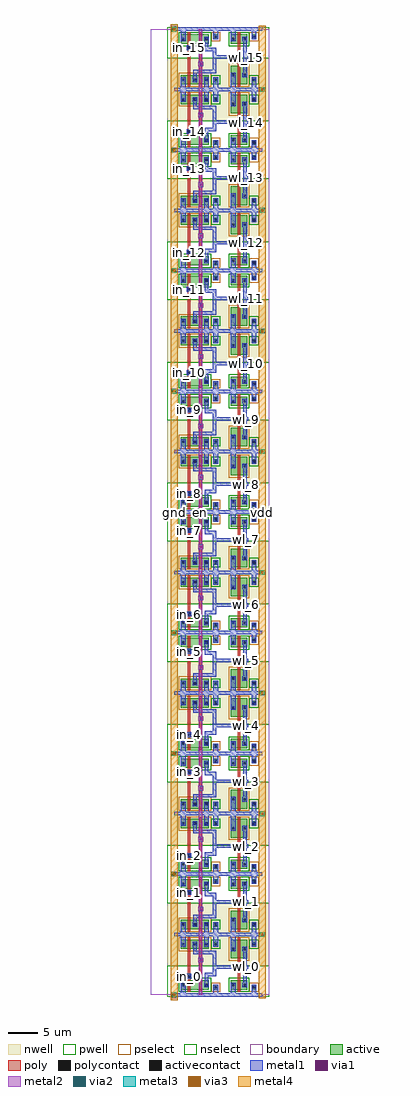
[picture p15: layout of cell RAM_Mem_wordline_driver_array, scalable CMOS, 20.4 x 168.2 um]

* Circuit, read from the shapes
.subckt RAM_Mem_wordline_driver_array en gnd in_0 in_1 in_10 in_11 in_12 in_13 in_14 in_15 in_2 in_3 in_4 in_5 in_6 in_7 in_8 in_9 vdd wl_0 wl_1 wl_10 wl_11 wl_12 wl_13 wl_14 wl_15 wl_2 wl_3 wl_4 wl_5 wl_6 wl_7 wl_8 wl_9
M1 RAM_Mem_wordline_driver_0/RAM_Mem_pnand2_0/RAM_Mem_nmos_m1_w1_600_sm1_dactive_2/D in_0 gnd gnd nfet w=1.6u l=0.4u
M2 RAM_Mem_wordline_driver_1/RAM_Mem_pnand2_0/RAM_Mem_nmos_m1_w1_600_sm1_dactive_2/D in_1 gnd gnd nfet w=1.6u l=0.4u
M3 RAM_Mem_wordline_driver_2/RAM_Mem_pnand2_0/RAM_Mem_nmos_m1_w1_600_sm1_dactive_2/D in_2 gnd gnd nfet w=1.6u l=0.4u
M4 RAM_Mem_wordline_driver_3/RAM_Mem_pnand2_0/RAM_Mem_nmos_m1_w1_600_sm1_dactive_2/D in_3 gnd gnd nfet w=1.6u l=0.4u
M5 RAM_Mem_wordline_driver_4/RAM_Mem_pnand2_0/RAM_Mem_nmos_m1_w1_600_sm1_dactive_2/D in_4 gnd gnd nfet w=1.6u l=0.4u
M6 RAM_Mem_wordline_driver_5/RAM_Mem_pnand2_0/RAM_Mem_nmos_m1_w1_600_sm1_dactive_2/D in_5 gnd gnd nfet w=1.6u l=0.4u
M7 RAM_Mem_wordline_driver_6/RAM_Mem_pnand2_0/RAM_Mem_nmos_m1_w1_600_sm1_dactive_2/D in_6 gnd gnd nfet w=1.6u l=0.4u
M8 RAM_Mem_wordline_driver_7/RAM_Mem_pnand2_0/RAM_Mem_nmos_m1_w1_600_sm1_dactive_2/D in_7 gnd gnd nfet w=1.6u l=0.4u
M9 RAM_Mem_wordline_driver_8/RAM_Mem_pnand2_0/RAM_Mem_nmos_m1_w1_600_sm1_dactive_2/D in_8 gnd gnd nfet w=1.6u l=0.4u
M10 RAM_Mem_wordline_driver_9/RAM_Mem_pnand2_0/RAM_Mem_nmos_m1_w1_600_sm1_dactive_2/D in_9 gnd gnd nfet w=1.6u l=0.4u
M11 RAM_Mem_wordline_driver_10/RAM_Mem_pnand2_0/RAM_Mem_nmos_m1_w1_600_sm1_dactive_2/D in_10 gnd gnd nfet w=1.6u l=0.4u
M12 RAM_Mem_wordline_driver_11/RAM_Mem_pnand2_0/RAM_Mem_nmos_m1_w1_600_sm1_dactive_2/D in_11 gnd gnd nfet w=1.6u l=0.4u
M13 RAM_Mem_wordline_driver_12/RAM_Mem_pnand2_0/RAM_Mem_nmos_m1_w1_600_sm1_dactive_2/D in_12 gnd gnd nfet w=1.6u l=0.4u
M14 RAM_Mem_wordline_driver_13/RAM_Mem_pnand2_0/RAM_Mem_nmos_m1_w1_600_sm1_dactive_2/D in_13 gnd gnd nfet w=1.6u l=0.4u
M15 RAM_Mem_wordline_driver_14/RAM_Mem_pnand2_0/RAM_Mem_nmos_m1_w1_600_sm1_dactive_2/D in_14 gnd gnd nfet w=1.6u l=0.4u
M16 RAM_Mem_wordline_driver_15/RAM_Mem_pnand2_0/RAM_Mem_nmos_m1_w1_600_sm1_dactive_2/D in_15 gnd gnd nfet w=1.6u l=0.4u
M17 RAM_Mem_wordline_driver_0/RAM_Mem_pinv_0_1/A en RAM_Mem_wordline_driver_0/RAM_Mem_pnand2_0/RAM_Mem_nmos_m1_w1_600_sm1_dactive_2/D gnd nfet w=1.6u l=0.4u
M18 RAM_Mem_wordline_driver_1/RAM_Mem_pinv_0_1/A en RAM_Mem_wordline_driver_1/RAM_Mem_pnand2_0/RAM_Mem_nmos_m1_w1_600_sm1_dactive_2/D gnd nfet w=1.6u l=0.4u
M19 RAM_Mem_wordline_driver_2/RAM_Mem_pinv_0_1/A en RAM_Mem_wordline_driver_2/RAM_Mem_pnand2_0/RAM_Mem_nmos_m1_w1_600_sm1_dactive_2/D gnd nfet w=1.6u l=0.4u
M20 RAM_Mem_wordline_driver_3/RAM_Mem_pinv_0_1/A en RAM_Mem_wordline_driver_3/RAM_Mem_pnand2_0/RAM_Mem_nmos_m1_w1_600_sm1_dactive_2/D gnd nfet w=1.6u l=0.4u
M21 RAM_Mem_wordline_driver_4/RAM_Mem_pinv_0_1/A en RAM_Mem_wordline_driver_4/RAM_Mem_pnand2_0/RAM_Mem_nmos_m1_w1_600_sm1_dactive_2/D gnd nfet w=1.6u l=0.4u
M22 RAM_Mem_wordline_driver_5/RAM_Mem_pinv_0_1/A en RAM_Mem_wordline_driver_5/RAM_Mem_pnand2_0/RAM_Mem_nmos_m1_w1_600_sm1_dactive_2/D gnd nfet w=1.6u l=0.4u
M23 RAM_Mem_wordline_driver_6/RAM_Mem_pinv_0_1/A en RAM_Mem_wordline_driver_6/RAM_Mem_pnand2_0/RAM_Mem_nmos_m1_w1_600_sm1_dactive_2/D gnd nfet w=1.6u l=0.4u
M24 RAM_Mem_wordline_driver_7/RAM_Mem_pinv_0_1/A en RAM_Mem_wordline_driver_7/RAM_Mem_pnand2_0/RAM_Mem_nmos_m1_w1_600_sm1_dactive_2/D gnd nfet w=1.6u l=0.4u
M25 RAM_Mem_wordline_driver_8/RAM_Mem_pinv_0_1/A en RAM_Mem_wordline_driver_8/RAM_Mem_pnand2_0/RAM_Mem_nmos_m1_w1_600_sm1_dactive_2/D gnd nfet w=1.6u l=0.4u
M26 RAM_Mem_wordline_driver_9/RAM_Mem_pinv_0_1/A en RAM_Mem_wordline_driver_9/RAM_Mem_pnand2_0/RAM_Mem_nmos_m1_w1_600_sm1_dactive_2/D gnd nfet w=1.6u l=0.4u
M27 RAM_Mem_wordline_driver_10/RAM_Mem_pinv_0_1/A en RAM_Mem_wordline_driver_10/RAM_Mem_pnand2_0/RAM_Mem_nmos_m1_w1_600_sm1_dactive_2/D gnd nfet w=1.6u l=0.4u
M28 RAM_Mem_wordline_driver_11/RAM_Mem_pinv_0_1/A en RAM_Mem_wordline_driver_11/RAM_Mem_pnand2_0/RAM_Mem_nmos_m1_w1_600_sm1_dactive_2/D gnd nfet w=1.6u l=0.4u
M29 RAM_Mem_wordline_driver_12/RAM_Mem_pinv_0_1/A en RAM_Mem_wordline_driver_12/RAM_Mem_pnand2_0/RAM_Mem_nmos_m1_w1_600_sm1_dactive_2/D gnd nfet w=1.6u l=0.4u
M30 RAM_Mem_wordline_driver_13/RAM_Mem_pinv_0_1/A en RAM_Mem_wordline_driver_13/RAM_Mem_pnand2_0/RAM_Mem_nmos_m1_w1_600_sm1_dactive_2/D gnd nfet w=1.6u l=0.4u
M31 RAM_Mem_wordline_driver_14/RAM_Mem_pinv_0_1/A en RAM_Mem_wordline_driver_14/RAM_Mem_pnand2_0/RAM_Mem_nmos_m1_w1_600_sm1_dactive_2/D gnd nfet w=1.6u l=0.4u
M32 RAM_Mem_wordline_driver_15/RAM_Mem_pinv_0_1/A en RAM_Mem_wordline_driver_15/RAM_Mem_pnand2_0/RAM_Mem_nmos_m1_w1_600_sm1_dactive_2/D gnd nfet w=1.6u l=0.4u
M33 wl_0 RAM_Mem_wordline_driver_0/RAM_Mem_pinv_0_1/A gnd gnd nfet w=1.6u l=0.4u
M34 wl_1 RAM_Mem_wordline_driver_1/RAM_Mem_pinv_0_1/A gnd gnd nfet w=1.6u l=0.4u
M35 wl_2 RAM_Mem_wordline_driver_2/RAM_Mem_pinv_0_1/A gnd gnd nfet w=1.6u l=0.4u
M36 wl_3 RAM_Mem_wordline_driver_3/RAM_Mem_pinv_0_1/A gnd gnd nfet w=1.6u l=0.4u
M37 wl_4 RAM_Mem_wordline_driver_4/RAM_Mem_pinv_0_1/A gnd gnd nfet w=1.6u l=0.4u
M38 wl_5 RAM_Mem_wordline_driver_5/RAM_Mem_pinv_0_1/A gnd gnd nfet w=1.6u l=0.4u
M39 wl_6 RAM_Mem_wordline_driver_6/RAM_Mem_pinv_0_1/A gnd gnd nfet w=1.6u l=0.4u
M40 wl_7 RAM_Mem_wordline_driver_7/RAM_Mem_pinv_0_1/A gnd gnd nfet w=1.6u l=0.4u
M41 wl_8 RAM_Mem_wordline_driver_8/RAM_Mem_pinv_0_1/A gnd gnd nfet w=1.6u l=0.4u
M42 wl_9 RAM_Mem_wordline_driver_9/RAM_Mem_pinv_0_1/A gnd gnd nfet w=1.6u l=0.4u
M43 wl_10 RAM_Mem_wordline_driver_10/RAM_Mem_pinv_0_1/A gnd gnd nfet w=1.6u l=0.4u
M44 wl_11 RAM_Mem_wordline_driver_11/RAM_Mem_pinv_0_1/A gnd gnd nfet w=1.6u l=0.4u
M45 wl_12 RAM_Mem_wordline_driver_12/RAM_Mem_pinv_0_1/A gnd gnd nfet w=1.6u l=0.4u
M46 wl_13 RAM_Mem_wordline_driver_13/RAM_Mem_pinv_0_1/A gnd gnd nfet w=1.6u l=0.4u
M47 wl_14 RAM_Mem_wordline_driver_14/RAM_Mem_pinv_0_1/A gnd gnd nfet w=1.6u l=0.4u
M48 wl_15 RAM_Mem_wordline_driver_15/RAM_Mem_pinv_0_1/A gnd gnd nfet w=1.6u l=0.4u
M49 RAM_Mem_wordline_driver_0/RAM_Mem_pinv_0_1/A in_0 vdd vdd pfet w=1.6u l=0.4u
M50 RAM_Mem_wordline_driver_1/RAM_Mem_pinv_0_1/A in_1 vdd vdd pfet w=1.6u l=0.4u
M51 RAM_Mem_wordline_driver_2/RAM_Mem_pinv_0_1/A in_2 vdd vdd pfet w=1.6u l=0.4u
M52 RAM_Mem_wordline_driver_3/RAM_Mem_pinv_0_1/A in_3 vdd vdd pfet w=1.6u l=0.4u
M53 RAM_Mem_wordline_driver_4/RAM_Mem_pinv_0_1/A in_4 vdd vdd pfet w=1.6u l=0.4u
M54 RAM_Mem_wordline_driver_5/RAM_Mem_pinv_0_1/A in_5 vdd vdd pfet w=1.6u l=0.4u
M55 RAM_Mem_wordline_driver_6/RAM_Mem_pinv_0_1/A in_6 vdd vdd pfet w=1.6u l=0.4u
M56 RAM_Mem_wordline_driver_7/RAM_Mem_pinv_0_1/A in_7 vdd vdd pfet w=1.6u l=0.4u
M57 RAM_Mem_wordline_driver_8/RAM_Mem_pinv_0_1/A in_8 vdd vdd pfet w=1.6u l=0.4u
M58 RAM_Mem_wordline_driver_9/RAM_Mem_pinv_0_1/A in_9 vdd vdd pfet w=1.6u l=0.4u
M59 RAM_Mem_wordline_driver_10/RAM_Mem_pinv_0_1/A in_10 vdd vdd pfet w=1.6u l=0.4u
M60 RAM_Mem_wordline_driver_11/RAM_Mem_pinv_0_1/A in_11 vdd vdd pfet w=1.6u l=0.4u
M61 RAM_Mem_wordline_driver_12/RAM_Mem_pinv_0_1/A in_12 vdd vdd pfet w=1.6u l=0.4u
M62 RAM_Mem_wordline_driver_13/RAM_Mem_pinv_0_1/A in_13 vdd vdd pfet w=1.6u l=0.4u
M63 RAM_Mem_wordline_driver_14/RAM_Mem_pinv_0_1/A in_14 vdd vdd pfet w=1.6u l=0.4u
M64 RAM_Mem_wordline_driver_15/RAM_Mem_pinv_0_1/A in_15 vdd vdd pfet w=1.6u l=0.4u
M65 vdd en RAM_Mem_wordline_driver_0/RAM_Mem_pinv_0_1/A vdd pfet w=1.6u l=0.4u
M66 vdd en RAM_Mem_wordline_driver_1/RAM_Mem_pinv_0_1/A vdd pfet w=1.6u l=0.4u
M67 vdd en RAM_Mem_wordline_driver_2/RAM_Mem_pinv_0_1/A vdd pfet w=1.6u l=0.4u
M68 vdd en RAM_Mem_wordline_driver_3/RAM_Mem_pinv_0_1/A vdd pfet w=1.6u l=0.4u
M69 vdd en RAM_Mem_wordline_driver_4/RAM_Mem_pinv_0_1/A vdd pfet w=1.6u l=0.4u
M70 vdd en RAM_Mem_wordline_driver_5/RAM_Mem_pinv_0_1/A vdd pfet w=1.6u l=0.4u
M71 vdd en RAM_Mem_wordline_driver_6/RAM_Mem_pinv_0_1/A vdd pfet w=1.6u l=0.4u
M72 vdd en RAM_Mem_wordline_driver_7/RAM_Mem_pinv_0_1/A vdd pfet w=1.6u l=0.4u
M73 vdd en RAM_Mem_wordline_driver_8/RAM_Mem_pinv_0_1/A vdd pfet w=1.6u l=0.4u
M74 vdd en RAM_Mem_wordline_driver_9/RAM_Mem_pinv_0_1/A vdd pfet w=1.6u l=0.4u
M75 vdd en RAM_Mem_wordline_driver_10/RAM_Mem_pinv_0_1/A vdd pfet w=1.6u l=0.4u
M76 vdd en RAM_Mem_wordline_driver_11/RAM_Mem_pinv_0_1/A vdd pfet w=1.6u l=0.4u
M77 vdd en RAM_Mem_wordline_driver_12/RAM_Mem_pinv_0_1/A vdd pfet w=1.6u l=0.4u
M78 vdd en RAM_Mem_wordline_driver_13/RAM_Mem_pinv_0_1/A vdd pfet w=1.6u l=0.4u
M79 vdd en RAM_Mem_wordline_driver_14/RAM_Mem_pinv_0_1/A vdd pfet w=1.6u l=0.4u
M80 vdd en RAM_Mem_wordline_driver_15/RAM_Mem_pinv_0_1/A vdd pfet w=1.6u l=0.4u
M81 wl_0 RAM_Mem_wordline_driver_0/RAM_Mem_pinv_0_1/A vdd vdd pfet w=3.2u l=0.4u
M82 wl_1 RAM_Mem_wordline_driver_1/RAM_Mem_pinv_0_1/A vdd vdd pfet w=3.2u l=0.4u
M83 wl_2 RAM_Mem_wordline_driver_2/RAM_Mem_pinv_0_1/A vdd vdd pfet w=3.2u l=0.4u
M84 wl_3 RAM_Mem_wordline_driver_3/RAM_Mem_pinv_0_1/A vdd vdd pfet w=3.2u l=0.4u
M85 wl_4 RAM_Mem_wordline_driver_4/RAM_Mem_pinv_0_1/A vdd vdd pfet w=3.2u l=0.4u
M86 wl_5 RAM_Mem_wordline_driver_5/RAM_Mem_pinv_0_1/A vdd vdd pfet w=3.2u l=0.4u
M87 wl_6 RAM_Mem_wordline_driver_6/RAM_Mem_pinv_0_1/A vdd vdd pfet w=3.2u l=0.4u
M88 wl_7 RAM_Mem_wordline_driver_7/RAM_Mem_pinv_0_1/A vdd vdd pfet w=3.2u l=0.4u
M89 wl_8 RAM_Mem_wordline_driver_8/RAM_Mem_pinv_0_1/A vdd vdd pfet w=3.2u l=0.4u
M90 wl_9 RAM_Mem_wordline_driver_9/RAM_Mem_pinv_0_1/A vdd vdd pfet w=3.2u l=0.4u
M91 wl_10 RAM_Mem_wordline_driver_10/RAM_Mem_pinv_0_1/A vdd vdd pfet w=3.2u l=0.4u
M92 wl_11 RAM_Mem_wordline_driver_11/RAM_Mem_pinv_0_1/A vdd vdd pfet w=3.2u l=0.4u
M93 wl_12 RAM_Mem_wordline_driver_12/RAM_Mem_pinv_0_1/A vdd vdd pfet w=3.2u l=0.4u
M94 wl_13 RAM_Mem_wordline_driver_13/RAM_Mem_pinv_0_1/A vdd vdd pfet w=3.2u l=0.4u
M95 wl_14 RAM_Mem_wordline_driver_14/RAM_Mem_pinv_0_1/A vdd vdd pfet w=3.2u l=0.4u
M96 wl_15 RAM_Mem_wordline_driver_15/RAM_Mem_pinv_0_1/A vdd vdd pfet w=3.2u l=0.4u
.ends

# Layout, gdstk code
import gdstk
lib = gdstk.Library(unit=1e-6, precision=1e-09)
def R(c, l, rs):  # rectangles x0, y0, x1, y1
    for r in rs: c.add(gdstk.rectangle(r[:2], r[2:], *l))
via3 = (30, 0)
metal4 = (31, 0)
pwell = (41, 0)
nwell = (42, 0)
active = (43, 0)
pselect = (44, 0)
nselect = (45, 0)
poly = (46, 0)
polycontact = (47, 0)
activecontact = (48, 0)
metal1 = (49, 0)
via1 = (50, 0)
metal2 = (51, 0)
via2 = (61, 0)
metal3 = (62, 0)
boundary = (63, 0)

ram_mem_contact_12 = lib.new_cell('RAM_Mem_contact_12')
R(ram_mem_contact_12, nwell, [(-1.2,-1.2,2,2)])
R(ram_mem_contact_12, active, [(0,0,0.8,0.8)])
R(ram_mem_contact_12, pselect, [(-0.4,-0.4,1.2,1.2)])
R(ram_mem_contact_12, activecontact, [(0.2,0.2,0.6,0.6)])
R(ram_mem_contact_12, metal1, [(0,0,0.8,0.8)])
R(ram_mem_contact_12, boundary, [(-1.2,-1.2,2,2)])

ram_mem_pmos_m1_w1_600_s = lib.new_cell('RAM_Mem_pmos_m1_w1_600_sm1_dm1')
R(ram_mem_pmos_m1_w1_600_s, nwell, [(-1.2,-1.2,4,2.8)])
R(ram_mem_pmos_m1_w1_600_s, active, [(0,0,2.8,1.6)])
R(ram_mem_pmos_m1_w1_600_s, pselect, [(-0.4,-0.4,3.2,2)])
R(ram_mem_pmos_m1_w1_600_s, poly, [(1.2,-0.4,1.6,2), (1.2,-0.4,1.6,2)])
R(ram_mem_pmos_m1_w1_600_s, metal1, [(0,0.4,0.8,1.2), (2,0.4,2.8,1.2)])
R(ram_mem_pmos_m1_w1_600_s, boundary, [(-1.2,-1.2,4,2.8)])
ram_mem_pmos_m1_w1_600_s.add(gdstk.Reference(ram_mem_contact_12, (0,0.4)))
ram_mem_pmos_m1_w1_600_s.add(gdstk.Reference(ram_mem_contact_12, (2,0.4)))
ram_mem_pmos_m1_w1_600_s.add(gdstk.Label('G', (1.4,0.8), layer=46, texttype=0))
ram_mem_pmos_m1_w1_600_s.add(gdstk.Label('S', (0.4,0.8), layer=49, texttype=0))
ram_mem_pmos_m1_w1_600_s.add(gdstk.Label('D', (2.4,0.8), layer=49, texttype=0))

ram_mem_contact_11 = lib.new_cell('RAM_Mem_contact_11')
R(ram_mem_contact_11, pwell, [(-1.2,-1.2,2,2)])
R(ram_mem_contact_11, active, [(0,0,0.8,0.8)])
R(ram_mem_contact_11, nselect, [(-0.4,-0.4,1.2,1.2)])
R(ram_mem_contact_11, activecontact, [(0.2,0.2,0.6,0.6)])
R(ram_mem_contact_11, metal1, [(0,0,0.8,0.8)])
R(ram_mem_contact_11, boundary, [(-1.2,-1.2,2,2)])

ram_mem_nmos_m1_w1_600_s = lib.new_cell('RAM_Mem_nmos_m1_w1_600_sm1_dactive')
R(ram_mem_nmos_m1_w1_600_s, pwell, [(-1.2,-1.2,4,2.8)])
R(ram_mem_nmos_m1_w1_600_s, active, [(0,0,2.8,1.6), (2.1,0.5,2.7,1.1)])
R(ram_mem_nmos_m1_w1_600_s, nselect, [(-0.4,-0.4,3.2,2)])
R(ram_mem_nmos_m1_w1_600_s, poly, [(1.2,-0.4,1.6,2), (1.2,-0.4,1.6,2)])
R(ram_mem_nmos_m1_w1_600_s, metal1, [(0,0.4,0.8,1.2)])
R(ram_mem_nmos_m1_w1_600_s, boundary, [(-1.2,-1.2,4,2.8)])
ram_mem_nmos_m1_w1_600_s.add(gdstk.Reference(ram_mem_contact_11, (0,0.4)))
ram_mem_nmos_m1_w1_600_s.add(gdstk.Label('G', (1.4,0.8), layer=46, texttype=0))
ram_mem_nmos_m1_w1_600_s.add(gdstk.Label('S', (0.4,0.8), layer=49, texttype=0))
ram_mem_nmos_m1_w1_600_s.add(gdstk.Label('D', (2.4,0.8), layer=43, texttype=0))

c_ram_mem_nmos_m1_w1_600_s = lib.new_cell('RAM_Mem_nmos_m1_w1_600_sactive_dm1')
R(c_ram_mem_nmos_m1_w1_600_s, pwell, [(-1.2,-1.2,4,2.8)])
R(c_ram_mem_nmos_m1_w1_600_s, active, [(0,0,2.8,1.6), (0.1,0.5,0.7,1.1)])
R(c_ram_mem_nmos_m1_w1_600_s, nselect, [(-0.4,-0.4,3.2,2)])
R(c_ram_mem_nmos_m1_w1_600_s, poly, [(1.2,-0.4,1.6,2), (1.2,-0.4,1.6,2)])
R(c_ram_mem_nmos_m1_w1_600_s, metal1, [(2,0.4,2.8,1.2)])
R(c_ram_mem_nmos_m1_w1_600_s, boundary, [(-1.2,-1.2,4,2.8)])
c_ram_mem_nmos_m1_w1_600_s.add(gdstk.Reference(ram_mem_contact_11, (2,0.4)))
c_ram_mem_nmos_m1_w1_600_s.add(gdstk.Label('G', (1.4,0.8), layer=46, texttype=0))
c_ram_mem_nmos_m1_w1_600_s.add(gdstk.Label('S', (0.4,0.8), layer=43, texttype=0))
c_ram_mem_nmos_m1_w1_600_s.add(gdstk.Label('D', (2.4,0.8), layer=49, texttype=0))

ram_mem_contact_13 = lib.new_cell('RAM_Mem_contact_13')
R(ram_mem_contact_13, nwell, [(-1.2,-1.2,2,2)])
R(ram_mem_contact_13, active, [(0,0,0.8,0.8)])
R(ram_mem_contact_13, nselect, [(-0.4,-0.4,1.2,1.2)])
R(ram_mem_contact_13, activecontact, [(0.2,0.2,0.6,0.6)])
R(ram_mem_contact_13, metal1, [(0,0,0.8,0.8)])
R(ram_mem_contact_13, boundary, [(-1.2,-1.2,2,2)])

ram_mem_contact_14 = lib.new_cell('RAM_Mem_contact_14')
R(ram_mem_contact_14, pwell, [(-1.2,-1.2,2,2)])
R(ram_mem_contact_14, active, [(0,0,0.8,0.8)])
R(ram_mem_contact_14, pselect, [(-0.4,-0.4,1.2,1.2)])
R(ram_mem_contact_14, activecontact, [(0.2,0.2,0.6,0.6)])
R(ram_mem_contact_14, metal1, [(0,0,0.8,0.8)])
R(ram_mem_contact_14, boundary, [(-1.2,-1.2,2,2)])

ram_mem_contact_15 = lib.new_cell('RAM_Mem_contact_15')
R(ram_mem_contact_15, poly, [(0,0,0.8,0.8)])
R(ram_mem_contact_15, polycontact, [(0.2,0.2,0.6,0.6)])
R(ram_mem_contact_15, metal1, [(0,0,0.8,0.8)])
R(ram_mem_contact_15, boundary, [(0,0,0.8,0.8)])

ram_mem_pnand2 = lib.new_cell('RAM_Mem_pnand2')
R(ram_mem_pnand2, pwell, [(-1.2,-0.3,9.8,5)])
R(ram_mem_pnand2, nwell, [(-1.2,5,9.8,11.9)])
R(ram_mem_pnand2, poly, [(2.4,2.8,2.6,3.6), (2.4,2.9,2.8,7.5), (4.4,2.9,4.8,7.5), (4.4,5.6,4.6,6.4)])
R(ram_mem_pnand2, metal1, [(0,-0.3,8.6,0.3), (1.2,-0.3,2,1.3), (6.8,0,7.6,1.3), (5.3,2.1,5.9,3.5), (2.2,2.8,3,3.6), (5.3,3.2,5.9,3.8), (5.6,3.2,7,3.8), (6.7,3.2,7.3,3.8), (6.7,3.5,7.3,7.3), (4.2,5.6,5,6.4), (3.3,7,3.9,7.6), (3.6,7,7,7.6), (6.7,7,7.3,7.6), (3.3,7.3,3.9,8.3), (1.2,8.3,2,10.7), (5.2,8.3,6,10.7), (6.8,8.7,7.6,10.4), (0,10.1,8.6,10.7)])
R(ram_mem_pnand2, boundary, [(0,0,8.6,10.4), (0,0,8.6,10.4)])
ram_mem_pnand2.add(gdstk.Reference(ram_mem_pmos_m1_w1_600_s, (1.2,7.9)))
ram_mem_pnand2.add(gdstk.Reference(ram_mem_pmos_m1_w1_600_s, (3.2,7.9)))
ram_mem_pnand2.add(gdstk.Reference(ram_mem_nmos_m1_w1_600_s, (1.2,0.9)))
ram_mem_pnand2.add(gdstk.Reference(c_ram_mem_nmos_m1_w1_600_s, (3.2,0.9)))
ram_mem_pnand2.add(gdstk.Reference(ram_mem_contact_13, (6.8,8.3)))
ram_mem_pnand2.add(gdstk.Reference(ram_mem_contact_14, (6.8,0.9)))
ram_mem_pnand2.add(gdstk.Reference(ram_mem_contact_15, (2.2,2.8)))
ram_mem_pnand2.add(gdstk.Reference(ram_mem_contact_15, (4.2,5.6)))
ram_mem_pnand2.add(gdstk.Label('Z', (7,7.3), layer=49, texttype=0))
ram_mem_pnand2.add(gdstk.Label('gnd', (4.3,0), layer=49, texttype=0))
ram_mem_pnand2.add(gdstk.Label('vdd', (4.3,10.4), layer=49, texttype=0))
ram_mem_pnand2.add(gdstk.Label('A', (2.6,3.2), layer=49, texttype=0))
ram_mem_pnand2.add(gdstk.Label('B', (4.6,6), layer=49, texttype=0))

ram_mem_pmos_m1_w3_200_s = lib.new_cell('RAM_Mem_pmos_m1_w3_200_sm1_dm1_da_p')
R(ram_mem_pmos_m1_w3_200_s, nwell, [(-1.2,-1.2,4,4.4)])
R(ram_mem_pmos_m1_w3_200_s, active, [(0,0,2.8,3.2)])
R(ram_mem_pmos_m1_w3_200_s, pselect, [(-0.4,-0.4,3.2,3.6)])
R(ram_mem_pmos_m1_w3_200_s, poly, [(1.2,-0.4,1.6,3.6), (1.2,-0.4,1.6,3.6)])
R(ram_mem_pmos_m1_w3_200_s, metal1, [(0,1.2,0.8,2), (2,1.2,2.8,2)])
R(ram_mem_pmos_m1_w3_200_s, boundary, [(-1.2,-1.2,4,4.4)])
ram_mem_pmos_m1_w3_200_s.add(gdstk.Reference(ram_mem_contact_12, (0,1.2)))
ram_mem_pmos_m1_w3_200_s.add(gdstk.Reference(ram_mem_contact_12, (2,1.2)))
ram_mem_pmos_m1_w3_200_s.add(gdstk.Label('G', (1.4,1.6), layer=46, texttype=0))
ram_mem_pmos_m1_w3_200_s.add(gdstk.Label('S', (0.4,1.6), layer=49, texttype=0))
ram_mem_pmos_m1_w3_200_s.add(gdstk.Label('D', (2.4,1.6), layer=49, texttype=0))

c_ram_mem_nmos_m1_w1_600_s_ = lib.new_cell('RAM_Mem_nmos_m1_w1_600_sm1_dm1_da_p')
R(c_ram_mem_nmos_m1_w1_600_s_, pwell, [(-1.2,-1.2,4,2.8)])
R(c_ram_mem_nmos_m1_w1_600_s_, active, [(0,0,2.8,1.6)])
R(c_ram_mem_nmos_m1_w1_600_s_, nselect, [(-0.4,-0.4,3.2,2)])
R(c_ram_mem_nmos_m1_w1_600_s_, poly, [(1.2,-0.4,1.6,2), (1.2,-0.4,1.6,2)])
R(c_ram_mem_nmos_m1_w1_600_s_, metal1, [(0,0.4,0.8,1.2), (2,0.4,2.8,1.2)])
R(c_ram_mem_nmos_m1_w1_600_s_, boundary, [(-1.2,-1.2,4,2.8)])
c_ram_mem_nmos_m1_w1_600_s_.add(gdstk.Reference(ram_mem_contact_11, (0,0.4)))
c_ram_mem_nmos_m1_w1_600_s_.add(gdstk.Reference(ram_mem_contact_11, (2,0.4)))
c_ram_mem_nmos_m1_w1_600_s_.add(gdstk.Label('G', (1.4,0.8), layer=46, texttype=0))
c_ram_mem_nmos_m1_w1_600_s_.add(gdstk.Label('S', (0.4,0.8), layer=49, texttype=0))
c_ram_mem_nmos_m1_w1_600_s_.add(gdstk.Label('D', (2.4,0.8), layer=49, texttype=0))

ram_mem_pinv_0 = lib.new_cell('RAM_Mem_pinv_0')
R(ram_mem_pinv_0, pwell, [(-1.2,-0.3,7.8,5)])
R(ram_mem_pinv_0, nwell, [(-1.2,5,7.8,11.9)])
R(ram_mem_pinv_0, poly, [(2.4,2.9,2.8,5.9), (2,4.4,2.4,5.2)])
R(ram_mem_pinv_0, metal1, [(0,-0.3,6.6,0.3), (1.2,-0.3,2,1.3), (4.8,0,5.6,1.3), (3.3,1.3,3.9,8.3), (1.6,4.4,2.4,5.2), (3.6,4.5,4.2,5.1), (1.2,7.5,2,10.7), (4.8,8.7,5.6,10.4), (0,10.1,6.6,10.7)])
R(ram_mem_pinv_0, boundary, [(0,0,6.6,10.4), (0,0,6.6,10.4)])
ram_mem_pinv_0.add(gdstk.Reference(ram_mem_pmos_m1_w3_200_s, (1.2,6.3)))
ram_mem_pinv_0.add(gdstk.Reference(c_ram_mem_nmos_m1_w1_600_s_, (1.2,0.9)))
ram_mem_pinv_0.add(gdstk.Reference(ram_mem_contact_13, (4.8,8.3)))
ram_mem_pinv_0.add(gdstk.Reference(ram_mem_contact_14, (4.8,0.9)))
ram_mem_pinv_0.add(gdstk.Reference(ram_mem_contact_15, (1.6,4.4)))
ram_mem_pinv_0.add(gdstk.Label('A', (2,4.8), layer=49, texttype=0))
ram_mem_pinv_0.add(gdstk.Label('Z', (3.9,4.8), layer=49, texttype=0))
ram_mem_pinv_0.add(gdstk.Label('gnd', (3.3,0), layer=49, texttype=0))
ram_mem_pinv_0.add(gdstk.Label('vdd', (3.3,10.4), layer=49, texttype=0))

ram_mem_wordline_driver = lib.new_cell('RAM_Mem_wordline_driver')
R(ram_mem_wordline_driver, metal1, [(0,-0.3,15.2,0.3), (2.2,2.8,3,3.6), (6.7,4.5,7.3,5.1), (7,4.5,10.6,5.1), (12.2,4.5,12.8,5.1), (6.7,4.8,7.3,7.3), (4.2,5.6,5,6.4), (0,10.1,15.2,10.7)])
R(ram_mem_wordline_driver, boundary, [(0,0,15.2,10.4)])
ram_mem_wordline_driver.add(gdstk.Reference(ram_mem_pnand2, (0,0)))
ram_mem_wordline_driver.add(gdstk.Reference(ram_mem_pinv_0, (8.6,0)))
ram_mem_wordline_driver.add(gdstk.Label('Z', (12.5,4.8), layer=49, texttype=0))
ram_mem_wordline_driver.add(gdstk.Label('A', (2.6,3.2), layer=49, texttype=0))
ram_mem_wordline_driver.add(gdstk.Label('B', (4.6,6), layer=49, texttype=0))
ram_mem_wordline_driver.add(gdstk.Label('gnd', (7.6,0), layer=49, texttype=0))
ram_mem_wordline_driver.add(gdstk.Label('vdd', (7.6,10.4), layer=49, texttype=0))

ram_mem_contact_18 = lib.new_cell('RAM_Mem_contact_18')
R(ram_mem_contact_18, metal1, [(0,0,0.8,0.8)])
R(ram_mem_contact_18, via1, [(0.2,0.2,0.6,0.6)])
R(ram_mem_contact_18, metal2, [(0,0,0.8,0.8)])
R(ram_mem_contact_18, boundary, [(0,0,0.8,0.8)])

ram_mem_contact_19 = lib.new_cell('RAM_Mem_contact_19')
R(ram_mem_contact_19, metal2, [(0,0,0.8,0.8)])
R(ram_mem_contact_19, via2, [(0.2,0.2,0.6,0.6)])
R(ram_mem_contact_19, metal3, [(0,0,0.8,0.8)])
R(ram_mem_contact_19, boundary, [(0,0,0.8,0.8)])

ram_mem_contact_22 = lib.new_cell('RAM_Mem_contact_22')
R(ram_mem_contact_22, via3, [(0.4,0.4,0.8,0.8)])
R(ram_mem_contact_22, metal4, [(0,0,1.2,1.2)])
R(ram_mem_contact_22, metal3, [(0.2,0.2,1,1)])
R(ram_mem_contact_22, boundary, [(0,0,1.2,1.2)])

ram_mem_wordline_driver_ = lib.new_cell('RAM_Mem_wordline_driver_array')
R(ram_mem_wordline_driver_, metal4, [(3.4,-0.9,4.6,167.3), (18.6,-0.6,19.8,167)])
R(ram_mem_wordline_driver_, metal1, [(6.2,2.8,7,3.6), (16.2,4.5,16.8,5.1), (16.2,15.7,16.8,16.3), (6.2,17.2,7,18), (6.2,23.6,7,24.4), (16.2,25.3,16.8,25.9), (16.2,36.5,16.8,37.1), (6.2,38,7,38.8), (6.2,44.4,7,45.2), (16.2,46.1,16.8,46.7), (16.2,57.3,16.8,57.9), (6.2,58.8,7,59.6), (6.2,65.2,7,66), (16.2,66.9,16.8,67.5), (16.2,78.1,16.8,78.7), (6.2,79.6,7,80.4), (6.2,86,7,86.8), (16.2,87.7,16.8,88.3), (16.2,98.9,16.8,99.5), (6.2,100.4,7,101.2), (6.2,106.8,7,107.6), (16.2,108.5,16.8,109.1), (16.2,119.7,16.8,120.3), (6.2,121.2,7,122), (6.2,127.6,7,128.4), (16.2,129.3,16.8,129.9), (16.2,140.5,16.8,141.1), (6.2,142,7,142.8), (6.2,148.4,7,149.2), (16.2,150.1,16.8,150.7), (16.2,161.3,16.8,161.9), (6.2,162.8,7,163.6)])
R(ram_mem_wordline_driver_, metal2, [(8.3,0,8.9,166.4)])
R(ram_mem_wordline_driver_, boundary, [(0,0,20.4,166.4)])
ram_mem_wordline_driver_.add(gdstk.Reference(ram_mem_wordline_driver, (4,0)))
ram_mem_wordline_driver_.add(gdstk.Reference(ram_mem_wordline_driver, (4,20.8), x_reflection=True))
ram_mem_wordline_driver_.add(gdstk.Reference(ram_mem_wordline_driver, (4,20.8)))
ram_mem_wordline_driver_.add(gdstk.Reference(ram_mem_wordline_driver, (4,41.6), x_reflection=True))
ram_mem_wordline_driver_.add(gdstk.Reference(ram_mem_wordline_driver, (4,41.6)))
ram_mem_wordline_driver_.add(gdstk.Reference(ram_mem_wordline_driver, (4,62.4), x_reflection=True))
ram_mem_wordline_driver_.add(gdstk.Reference(ram_mem_wordline_driver, (4,62.4)))
ram_mem_wordline_driver_.add(gdstk.Reference(ram_mem_wordline_driver, (4,83.2), x_reflection=True))
ram_mem_wordline_driver_.add(gdstk.Reference(ram_mem_wordline_driver, (4,83.2)))
ram_mem_wordline_driver_.add(gdstk.Reference(ram_mem_wordline_driver, (4,104), x_reflection=True))
ram_mem_wordline_driver_.add(gdstk.Reference(ram_mem_wordline_driver, (4,104)))
ram_mem_wordline_driver_.add(gdstk.Reference(ram_mem_wordline_driver, (4,124.8), x_reflection=True))
ram_mem_wordline_driver_.add(gdstk.Reference(ram_mem_wordline_driver, (4,124.8)))
ram_mem_wordline_driver_.add(gdstk.Reference(ram_mem_wordline_driver, (4,145.6), x_reflection=True))
ram_mem_wordline_driver_.add(gdstk.Reference(ram_mem_wordline_driver, (4,145.6)))
ram_mem_wordline_driver_.add(gdstk.Reference(ram_mem_wordline_driver, (4,166.4), x_reflection=True))
ram_mem_wordline_driver_.add(gdstk.Reference(ram_mem_contact_18, (8.2,5.6)))
ram_mem_wordline_driver_.add(gdstk.Reference(ram_mem_contact_18, (8.2,14.4)))
ram_mem_wordline_driver_.add(gdstk.Reference(ram_mem_contact_18, (8.2,26.4)))
ram_mem_wordline_driver_.add(gdstk.Reference(ram_mem_contact_18, (8.2,35.2)))
ram_mem_wordline_driver_.add(gdstk.Reference(ram_mem_contact_18, (8.2,47.2)))
ram_mem_wordline_driver_.add(gdstk.Reference(ram_mem_contact_18, (8.2,56)))
ram_mem_wordline_driver_.add(gdstk.Reference(ram_mem_contact_18, (8.2,68)))
ram_mem_wordline_driver_.add(gdstk.Reference(ram_mem_contact_18, (8.2,76.8)))
ram_mem_wordline_driver_.add(gdstk.Reference(ram_mem_contact_18, (8.2,88.8)))
ram_mem_wordline_driver_.add(gdstk.Reference(ram_mem_contact_18, (8.2,97.6)))
ram_mem_wordline_driver_.add(gdstk.Reference(ram_mem_contact_18, (8.2,109.6)))
ram_mem_wordline_driver_.add(gdstk.Reference(ram_mem_contact_18, (8.2,118.4)))
ram_mem_wordline_driver_.add(gdstk.Reference(ram_mem_contact_18, (8.2,130.4)))
ram_mem_wordline_driver_.add(gdstk.Reference(ram_mem_contact_18, (8.2,139.2)))
ram_mem_wordline_driver_.add(gdstk.Reference(ram_mem_contact_18, (8.2,151.2)))
ram_mem_wordline_driver_.add(gdstk.Reference(ram_mem_contact_18, (8.2,160)))
ram_mem_wordline_driver_.add(gdstk.Reference(ram_mem_contact_18, (18.8,10)))
ram_mem_wordline_driver_.add(gdstk.Reference(ram_mem_contact_19, (18.8,10)))
ram_mem_wordline_driver_.add(gdstk.Reference(ram_mem_contact_22, (18.6,9.8)))
ram_mem_wordline_driver_.add(gdstk.Reference(ram_mem_contact_18, (18.8,10)))
ram_mem_wordline_driver_.add(gdstk.Reference(ram_mem_contact_19, (18.8,10)))
ram_mem_wordline_driver_.add(gdstk.Reference(ram_mem_contact_22, (18.6,9.8)))
ram_mem_wordline_driver_.add(gdstk.Reference(ram_mem_contact_18, (18.8,30.8)))
ram_mem_wordline_driver_.add(gdstk.Reference(ram_mem_contact_19, (18.8,30.8)))
ram_mem_wordline_driver_.add(gdstk.Reference(ram_mem_contact_22, (18.6,30.6)))
ram_mem_wordline_driver_.add(gdstk.Reference(ram_mem_contact_18, (18.8,30.8)))
ram_mem_wordline_driver_.add(gdstk.Reference(ram_mem_contact_19, (18.8,30.8)))
ram_mem_wordline_driver_.add(gdstk.Reference(ram_mem_contact_22, (18.6,30.6)))
ram_mem_wordline_driver_.add(gdstk.Reference(ram_mem_contact_18, (18.8,51.6)))
ram_mem_wordline_driver_.add(gdstk.Reference(ram_mem_contact_19, (18.8,51.6)))
ram_mem_wordline_driver_.add(gdstk.Reference(ram_mem_contact_22, (18.6,51.4)))
ram_mem_wordline_driver_.add(gdstk.Reference(ram_mem_contact_18, (18.8,51.6)))
ram_mem_wordline_driver_.add(gdstk.Reference(ram_mem_contact_19, (18.8,51.6)))
ram_mem_wordline_driver_.add(gdstk.Reference(ram_mem_contact_22, (18.6,51.4)))
ram_mem_wordline_driver_.add(gdstk.Reference(ram_mem_contact_18, (18.8,72.4)))
ram_mem_wordline_driver_.add(gdstk.Reference(ram_mem_contact_19, (18.8,72.4)))
ram_mem_wordline_driver_.add(gdstk.Reference(ram_mem_contact_22, (18.6,72.2)))
ram_mem_wordline_driver_.add(gdstk.Reference(ram_mem_contact_18, (18.8,72.4)))
ram_mem_wordline_driver_.add(gdstk.Reference(ram_mem_contact_19, (18.8,72.4)))
ram_mem_wordline_driver_.add(gdstk.Reference(ram_mem_contact_22, (18.6,72.2)))
ram_mem_wordline_driver_.add(gdstk.Reference(ram_mem_contact_18, (18.8,93.2)))
ram_mem_wordline_driver_.add(gdstk.Reference(ram_mem_contact_19, (18.8,93.2)))
ram_mem_wordline_driver_.add(gdstk.Reference(ram_mem_contact_22, (18.6,93)))
ram_mem_wordline_driver_.add(gdstk.Reference(ram_mem_contact_18, (18.8,93.2)))
ram_mem_wordline_driver_.add(gdstk.Reference(ram_mem_contact_19, (18.8,93.2)))
ram_mem_wordline_driver_.add(gdstk.Reference(ram_mem_contact_22, (18.6,93)))
ram_mem_wordline_driver_.add(gdstk.Reference(ram_mem_contact_18, (18.8,114)))
ram_mem_wordline_driver_.add(gdstk.Reference(ram_mem_contact_19, (18.8,114)))
ram_mem_wordline_driver_.add(gdstk.Reference(ram_mem_contact_22, (18.6,113.8)))
ram_mem_wordline_driver_.add(gdstk.Reference(ram_mem_contact_18, (18.8,114)))
ram_mem_wordline_driver_.add(gdstk.Reference(ram_mem_contact_19, (18.8,114)))
ram_mem_wordline_driver_.add(gdstk.Reference(ram_mem_contact_22, (18.6,113.8)))
ram_mem_wordline_driver_.add(gdstk.Reference(ram_mem_contact_18, (18.8,134.8)))
ram_mem_wordline_driver_.add(gdstk.Reference(ram_mem_contact_19, (18.8,134.8)))
ram_mem_wordline_driver_.add(gdstk.Reference(ram_mem_contact_22, (18.6,134.6)))
ram_mem_wordline_driver_.add(gdstk.Reference(ram_mem_contact_18, (18.8,134.8)))
ram_mem_wordline_driver_.add(gdstk.Reference(ram_mem_contact_19, (18.8,134.8)))
ram_mem_wordline_driver_.add(gdstk.Reference(ram_mem_contact_22, (18.6,134.6)))
ram_mem_wordline_driver_.add(gdstk.Reference(ram_mem_contact_18, (18.8,155.6)))
ram_mem_wordline_driver_.add(gdstk.Reference(ram_mem_contact_19, (18.8,155.6)))
ram_mem_wordline_driver_.add(gdstk.Reference(ram_mem_contact_22, (18.6,155.4)))
ram_mem_wordline_driver_.add(gdstk.Reference(ram_mem_contact_18, (18.8,155.6)))
ram_mem_wordline_driver_.add(gdstk.Reference(ram_mem_contact_19, (18.8,155.6)))
ram_mem_wordline_driver_.add(gdstk.Reference(ram_mem_contact_22, (18.6,155.4)))
ram_mem_wordline_driver_.add(gdstk.Reference(ram_mem_contact_18, (3.6,-0.4)))
ram_mem_wordline_driver_.add(gdstk.Reference(ram_mem_contact_19, (3.6,-0.4)))
ram_mem_wordline_driver_.add(gdstk.Reference(ram_mem_contact_22, (3.4,-0.6)))
ram_mem_wordline_driver_.add(gdstk.Reference(ram_mem_contact_18, (3.6,20.4)))
ram_mem_wordline_driver_.add(gdstk.Reference(ram_mem_contact_19, (3.6,20.4)))
ram_mem_wordline_driver_.add(gdstk.Reference(ram_mem_contact_22, (3.4,20.2)))
ram_mem_wordline_driver_.add(gdstk.Reference(ram_mem_contact_18, (3.6,20.4)))
ram_mem_wordline_driver_.add(gdstk.Reference(ram_mem_contact_19, (3.6,20.4)))
ram_mem_wordline_driver_.add(gdstk.Reference(ram_mem_contact_22, (3.4,20.2)))
ram_mem_wordline_driver_.add(gdstk.Reference(ram_mem_contact_18, (3.6,41.2)))
ram_mem_wordline_driver_.add(gdstk.Reference(ram_mem_contact_19, (3.6,41.2)))
ram_mem_wordline_driver_.add(gdstk.Reference(ram_mem_contact_22, (3.4,41)))
ram_mem_wordline_driver_.add(gdstk.Reference(ram_mem_contact_18, (3.6,41.2)))
ram_mem_wordline_driver_.add(gdstk.Reference(ram_mem_contact_19, (3.6,41.2)))
ram_mem_wordline_driver_.add(gdstk.Reference(ram_mem_contact_22, (3.4,41)))
ram_mem_wordline_driver_.add(gdstk.Reference(ram_mem_contact_18, (3.6,62)))
ram_mem_wordline_driver_.add(gdstk.Reference(ram_mem_contact_19, (3.6,62)))
ram_mem_wordline_driver_.add(gdstk.Reference(ram_mem_contact_22, (3.4,61.8)))
ram_mem_wordline_driver_.add(gdstk.Reference(ram_mem_contact_18, (3.6,62)))
ram_mem_wordline_driver_.add(gdstk.Reference(ram_mem_contact_19, (3.6,62)))
ram_mem_wordline_driver_.add(gdstk.Reference(ram_mem_contact_22, (3.4,61.8)))
ram_mem_wordline_driver_.add(gdstk.Reference(ram_mem_contact_18, (3.6,82.8)))
ram_mem_wordline_driver_.add(gdstk.Reference(ram_mem_contact_19, (3.6,82.8)))
ram_mem_wordline_driver_.add(gdstk.Reference(ram_mem_contact_22, (3.4,82.6)))
ram_mem_wordline_driver_.add(gdstk.Reference(ram_mem_contact_18, (3.6,82.8)))
ram_mem_wordline_driver_.add(gdstk.Reference(ram_mem_contact_19, (3.6,82.8)))
ram_mem_wordline_driver_.add(gdstk.Reference(ram_mem_contact_22, (3.4,82.6)))
ram_mem_wordline_driver_.add(gdstk.Reference(ram_mem_contact_18, (3.6,103.6)))
ram_mem_wordline_driver_.add(gdstk.Reference(ram_mem_contact_19, (3.6,103.6)))
ram_mem_wordline_driver_.add(gdstk.Reference(ram_mem_contact_22, (3.4,103.4)))
ram_mem_wordline_driver_.add(gdstk.Reference(ram_mem_contact_18, (3.6,103.6)))
ram_mem_wordline_driver_.add(gdstk.Reference(ram_mem_contact_19, (3.6,103.6)))
ram_mem_wordline_driver_.add(gdstk.Reference(ram_mem_contact_22, (3.4,103.4)))
ram_mem_wordline_driver_.add(gdstk.Reference(ram_mem_contact_18, (3.6,124.4)))
ram_mem_wordline_driver_.add(gdstk.Reference(ram_mem_contact_19, (3.6,124.4)))
ram_mem_wordline_driver_.add(gdstk.Reference(ram_mem_contact_22, (3.4,124.2)))
ram_mem_wordline_driver_.add(gdstk.Reference(ram_mem_contact_18, (3.6,124.4)))
ram_mem_wordline_driver_.add(gdstk.Reference(ram_mem_contact_19, (3.6,124.4)))
ram_mem_wordline_driver_.add(gdstk.Reference(ram_mem_contact_22, (3.4,124.2)))
ram_mem_wordline_driver_.add(gdstk.Reference(ram_mem_contact_18, (3.6,145.2)))
ram_mem_wordline_driver_.add(gdstk.Reference(ram_mem_contact_19, (3.6,145.2)))
ram_mem_wordline_driver_.add(gdstk.Reference(ram_mem_contact_22, (3.4,145)))
ram_mem_wordline_driver_.add(gdstk.Reference(ram_mem_contact_18, (3.6,145.2)))
ram_mem_wordline_driver_.add(gdstk.Reference(ram_mem_contact_19, (3.6,145.2)))
ram_mem_wordline_driver_.add(gdstk.Reference(ram_mem_contact_22, (3.4,145)))
ram_mem_wordline_driver_.add(gdstk.Reference(ram_mem_contact_18, (3.6,166)))
ram_mem_wordline_driver_.add(gdstk.Reference(ram_mem_contact_19, (3.6,166)))
ram_mem_wordline_driver_.add(gdstk.Reference(ram_mem_contact_22, (3.4,165.8)))
ram_mem_wordline_driver_.add(gdstk.Label('en', (8.6,83.2), layer=51, texttype=0))
ram_mem_wordline_driver_.add(gdstk.Label('in_0', (6.6,3.2), layer=49, texttype=0))
ram_mem_wordline_driver_.add(gdstk.Label('wl_0', (16.5,4.8), layer=49, texttype=0))
ram_mem_wordline_driver_.add(gdstk.Label('in_1', (6.6,17.6), layer=49, texttype=0))
ram_mem_wordline_driver_.add(gdstk.Label('wl_1', (16.5,16), layer=49, texttype=0))
ram_mem_wordline_driver_.add(gdstk.Label('in_2', (6.6,24), layer=49, texttype=0))
ram_mem_wordline_driver_.add(gdstk.Label('wl_2', (16.5,25.6), layer=49, texttype=0))
ram_mem_wordline_driver_.add(gdstk.Label('in_3', (6.6,38.4), layer=49, texttype=0))
ram_mem_wordline_driver_.add(gdstk.Label('wl_3', (16.5,36.8), layer=49, texttype=0))
ram_mem_wordline_driver_.add(gdstk.Label('in_4', (6.6,44.8), layer=49, texttype=0))
ram_mem_wordline_driver_.add(gdstk.Label('wl_4', (16.5,46.4), layer=49, texttype=0))
ram_mem_wordline_driver_.add(gdstk.Label('in_5', (6.6,59.2), layer=49, texttype=0))
ram_mem_wordline_driver_.add(gdstk.Label('wl_5', (16.5,57.6), layer=49, texttype=0))
ram_mem_wordline_driver_.add(gdstk.Label('in_6', (6.6,65.6), layer=49, texttype=0))
ram_mem_wordline_driver_.add(gdstk.Label('wl_6', (16.5,67.2), layer=49, texttype=0))
ram_mem_wordline_driver_.add(gdstk.Label('in_7', (6.6,80), layer=49, texttype=0))
ram_mem_wordline_driver_.add(gdstk.Label('wl_7', (16.5,78.4), layer=49, texttype=0))
ram_mem_wordline_driver_.add(gdstk.Label('in_8', (6.6,86.4), layer=49, texttype=0))
ram_mem_wordline_driver_.add(gdstk.Label('wl_8', (16.5,88), layer=49, texttype=0))
ram_mem_wordline_driver_.add(gdstk.Label('in_9', (6.6,100.8), layer=49, texttype=0))
ram_mem_wordline_driver_.add(gdstk.Label('wl_9', (16.5,99.2), layer=49, texttype=0))
ram_mem_wordline_driver_.add(gdstk.Label('in_10', (6.6,107.2), layer=49, texttype=0))
ram_mem_wordline_driver_.add(gdstk.Label('wl_10', (16.5,108.8), layer=49, texttype=0))
ram_mem_wordline_driver_.add(gdstk.Label('in_11', (6.6,121.6), layer=49, texttype=0))
ram_mem_wordline_driver_.add(gdstk.Label('wl_11', (16.5,120), layer=49, texttype=0))
ram_mem_wordline_driver_.add(gdstk.Label('in_12', (6.6,128), layer=49, texttype=0))
ram_mem_wordline_driver_.add(gdstk.Label('wl_12', (16.5,129.6), layer=49, texttype=0))
ram_mem_wordline_driver_.add(gdstk.Label('in_13', (6.6,142.4), layer=49, texttype=0))
ram_mem_wordline_driver_.add(gdstk.Label('wl_13', (16.5,140.8), layer=49, texttype=0))
ram_mem_wordline_driver_.add(gdstk.Label('in_14', (6.6,148.8), layer=49, texttype=0))
ram_mem_wordline_driver_.add(gdstk.Label('wl_14', (16.5,150.4), layer=49, texttype=0))
ram_mem_wordline_driver_.add(gdstk.Label('in_15', (6.6,163.2), layer=49, texttype=0))
ram_mem_wordline_driver_.add(gdstk.Label('wl_15', (16.5,161.6), layer=49, texttype=0))
ram_mem_wordline_driver_.add(gdstk.Label('vdd', (19.2,83.2), layer=31, texttype=0))
ram_mem_wordline_driver_.add(gdstk.Label('gnd', (4,83.2), layer=31, texttype=0))

lib.write_gds('RAM_Mem_wordline_driver_array.gds')
